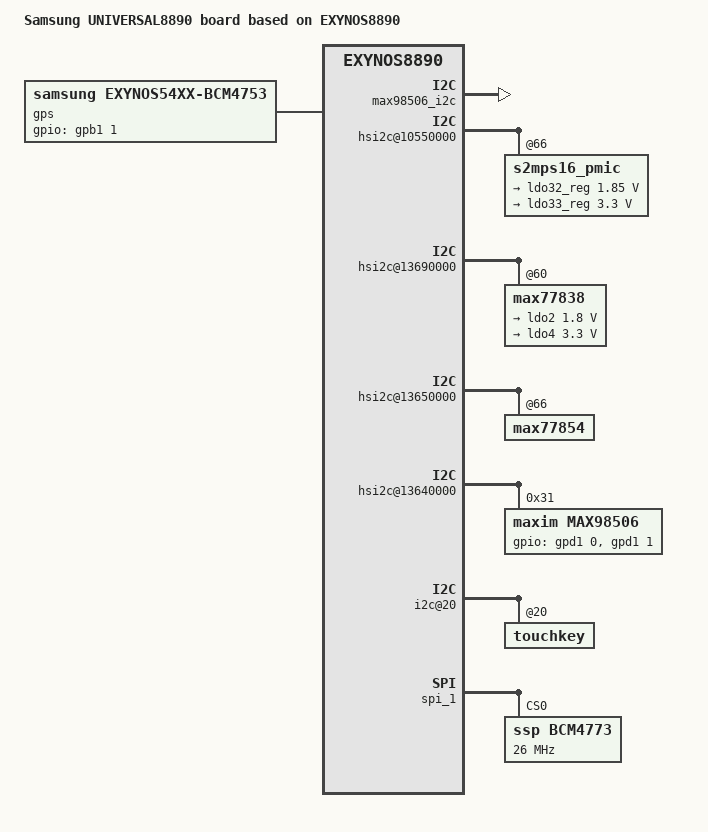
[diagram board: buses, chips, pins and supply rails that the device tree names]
/*
 * SAMSUNG UNIVERSAL8890 board device tree source
 *
 * Copyright (c) 2013 Samsung Electronics Co., Ltd.
 *		http://www.samsung.com
 *
 * This program is free software; you can redistribute it and/or modify
 * it under the terms of the GNU General Public License version 2 as
 * published by the Free Software Foundation.
*/

/dts-v1/;
#include "exynos8890-herolte_common.dtsi"
#include "exynos8890-herolte_gpio_03.dtsi"
#include "exynos8890-herolte_battery_eur_04.dtsi"
#include "exynos8890-sound-cs47l91.dtsi"
#include "exynos8890-luckylte_mst.dtsi"
#include "exynos8890-herolte_fingerprint-sensor_03.dtsi"
#include "exynos8890-herolte_display_02.dtsi"
#include "exynos8890-herolte_motor.dtsi"
#include "exynos8890-herolte_svcled.dtsi"

/ {
	model = "Samsung UNIVERSAL8890 board based on EXYNOS8890";
	model_info-chip = <8890>;
	model_info-platform = "android";
	model_info-subtype = "samsung";
	model_info-hw_rev = <4>;
	model_info-hw_rev_end = <7>;
	compatible = "samsung,exynos8890", "samsung,UNIVERSAL8890";

	audio_pdata {
		compatible = "samsung,audio-pdata";

		imp_table_CAN = <
			/* min      max gain */
			   0         13    0
			  14         42    8
			  43        100   11
			 101        200   14
			 201        450   15
			 451       1000   15
			1001 0x7fffffff   11
		>;

		seamless_voicewakeup;
		status = "okay";
	};

	pinctrl@10580000 {
		codec_irq: codec-irq {
			samsung,pins = "gpa2-6";
			samsung,pin-function = <0xf>;
			samsung,pin-pud = <0>;
		};
		max98506_ctrl: max98506-ctl {
			samsung,pins ="gpa2-2";
			samsung,pin-function = <0>;
			samsung,pin-pud = <0>;
			samsung,pin-con-pdn =<2>;
			samsung,pin-pud-pdn = <0>;
		};
	};

	pinctrl@136D0000 {
		max98506_i2c: max98506-i2c {
			samsung,pins = "gpd1-0", "gpd1-1";
			samsung,pin-pud = <0>;
			status = "okay";
		};
	};

	hsi2c@10550000{
		status = "okay";

		s2mps16_pmic@66 {
			regulators {
				ldo32_reg: LDO32 {
					regulator-name = "tsp_io";
					regulator-min-microvolt = <1850000>;
					regulator-max-microvolt = <1850000>;
				};

				ldo33_reg: LDO33 {
					regulator-name = "tsp_avdd";
					regulator-min-microvolt = <3300000>;
					regulator-max-microvolt = <3300000>;
				};
			};
		};
	};

	hsi2c@13690000 {
		status = "okay";

		max77838@60 {
			regulators {
				ldo2: LDO2 {
					regulator-name = "HRM_1.8V_AP";
					regulator-min-microvolt = <1800000>;
					regulator-max-microvolt = <1800000>;
				};
				ldo4: LDO4 {
					regulator-name = "HRM_3.3V_AP";
					regulator-min-microvolt = <3300000>;
					regulator-max-microvolt = <3300000>;
				};
			};
		};
	};

	pinctrl@14CC0000 {
		codec_reset: codec-reset {
			samsung,pins ="gpe6-5";
			samsung,pin-function = <1>;
			samsung,pin-pud = <1>;
			samsung,pin-con-pdn =<3>;
			samsung,pin-pud-pdn = <1>;
			samsung,pin-val = <0>;
		};
	};

	hsi2c@13650000 {
		status = "okay";

		max77854@66 {
			status = "okay";
		};
	};

	hsi2c@13640000 {
		status = "okay";
		max98506@31 {
			compatible = "maxim,max98506";
			reg = <0x31>;
			pinctrl-names = "default";
			pinctrl-0 = <&max98506_i2c &max98506_ctrl>;
			gpios = <&gpd1 0 0
				&gpd1 1 0
				>;
			i2c-gpio,delay-us = <2>;
			maxim,platform_type = <0>;
			maxim,spk-gain = <0x14>;
			maxim,sysclk = <12288000>;
			maxim,vmon_slot = <0>;
			maxim,platform_info = <0 0x4000 0x0F010203 0x0FF10203 0x00000000 40>;
			maxim,boost_step = <
						0x0F 0x0F 0x0F 0x0F
						0x0F 0x0F 0x0F 0x0F
						0x0F 0x0F 0x0F 0x0F
						0x0F 0x0F 0x02 0x00
						>;
			maxim,adc_threshold = <7>;
			maxim,registers-of-amp =
				<0x1F 0x00>,
				<0x21 0xC0>,
				<0x2F 0x00>;
		};
	};

	hsi2c@14E10000 {
		touchscreen@49{
			status = "disabled";
		};
	};

	i2c@20 {
		touchkey@20 {
			abov,sub-det = <&gpa3 0 0>;
		};
	};

	spi_1: spi@14d30000 {
		#address-cells = <1>;
		#size-cells = <0>;

		pinctrl-names = "default";
		pinctrl-0 = <&spi1_mosi_sck_ssn &spi1_miso>;

		num-cs = <1>;
		status = "okay";

		BCM4773@0 {
			compatible = "ssp,BCM4773";
			reg = <0>;
			spi-max-frequency = <26000000>;
			spi-cpol;
			spi-cpha;
			pinctrl-names = "default";
			pinctrl-0 = <&ssp_host_req &ssp_mcu_req &ssp_mcu_resp &ssp_batch_wake_irq>;

			gpio-controller;
			#gpio-cells = <2>;
			ssp-host-req = <&gpa3 4 0x00>;
			ssp-mcu-req = <&gpe6 4 0x00>;
			ssp-mcu-resp = <&gpg0 2 0x00>;
			ssp-batch-wake-irq = <&gpa3 1 0x00>;
			ssp-acc-position = <7>;
			ssp-mag-position = <4>;
			ssp-sns-combination = <0>;
			ssp,prox-hi_thresh = <2000>;
			ssp,prox-low_thresh = <1400>;
			ssp-ap-rev = <1>;
			ssp-mag-array = <9787 662 79 290 9460 27 200 (-33) 10632>;
			ssp-glass-type = <0>;

			controller-data {
				cs-gpio = <&gpe2 5 0>;
				samsung,spi-feedback-delay = <0>;
				};
			};
	};

	gps {
		compatible = "samsung,exynos54xx-bcm4753";

		pinctrl-names = "default";
		//pinctrl-0 = <&ssp_gps_pwr_en &ssp_host_wake>;
		pinctrl-0 = <&ssp_gps_pwr_en>;

		gpios = <&gpb1 1 0x0
			      //&gpa3 1 0x0
				>;
		status = "okay";
	};

	pinctrl@14CC0000 {
		tflash_en: tfalsh-en {
			samsung,pins = "gpe0-5";
			samsung,pin-pud = <0>;
		};
	};

	pinctrl@15690000 {
		sd2_clk: sd2-clk {
			samsung,pins = "gpj0-0";
			samsung,pin-function = <2>;
			samsung,pin-pud = <0>;
			samsung,pin-drv = <1>;
		};

		sd2_bus1: sd2-bus-width1 {
			samsung,pins = "gpj0-3";
			samsung,pin-function = <2>;
			samsung,pin-pud = <0>;
			samsung,pin-drv = <2>;
		};

		sd2_bus4: sd2-bus-width4 {
			samsung,pins = "gpj0-4", "gpj0-5", "gpj0-6";
			samsung,pin-function = <2>;
			samsung,pin-pud = <0>;
			samsung,pin-drv = <2>;
		};
	};

	dwmmc2@15740000 {
		supports-vqmmc19;
	};
};
